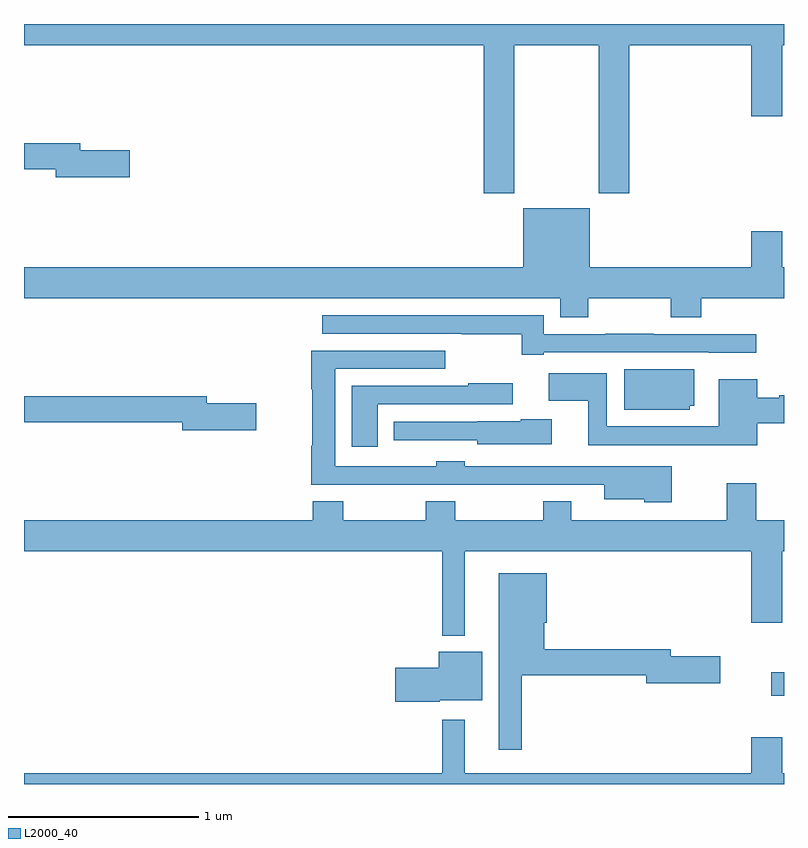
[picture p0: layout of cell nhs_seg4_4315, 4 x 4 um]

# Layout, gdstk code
import gdstk
lib = gdstk.Library(unit=1e-6, precision=1e-09)
def R(c, l, rs):  # rectangles x0, y0, x1, y1
    for r in rs: c.add(gdstk.rectangle(r[:2], r[2:], *l))
def P(c, l, *ps):  # polygons
    for p in ps: c.add(gdstk.Polygon(p, *l))
L2000_40 = (2000, 40)

nhs_seg4_4315 = lib.new_cell('nhs_seg4_4315')
R(nhs_seg4_4315, L2000_40, [(344.934,825.365,345,825.487)])
P(nhs_seg4_4315, L2000_40, [(343.581,828.788),(344.026,828.788),(344.026,828.009),(344.186,828.009),(344.186,828.788),(344.828,828.788),(344.828,828.414),(344.992,828.414),(344.992,828.788),(345,828.788),(345,828.9),(341,828.9),(341,828.788),(343.421,828.788),(343.421,828.009),(343.581,828.009)],
  [(341.557,828.236),(341.296,828.236),(341.296,828.272),(341,828.272),(341,828.136),(341.168,828.136),(341.168,828.094),(341.557,828.094)],
  [(343.971,827.456),(344.404,827.456),(344.404,827.357),(344.564,827.357),(344.564,827.456),(345,827.456),(345,827.62),(344.992,827.62),(344.992,827.809),(344.828,827.809),(344.828,827.62),(343.978,827.62),(343.978,827.929),(343.628,827.929),(343.628,827.62),(341,827.62),(341,827.456),(343.823,827.456),(343.823,827.357),(343.971,827.357)],
  [(343.735,827.172),(344.605,827.172),(344.605,827.171),(344.854,827.171),(344.854,827.268),(344.315,827.268),(344.315,827.27),(344.059,827.27),(344.059,827.268),(343.735,827.268),(343.735,827.367),(342.57,827.367),(342.57,827.271),(343.303,827.271),(343.303,827.266),(343.621,827.266),(343.621,827.16),(343.735,827.16)],
  [(344.409,826.573),(344.158,826.573),(344.158,826.572),(343.32,826.572),(343.32,826.6),(343.17,826.6),(343.17,826.573),(342.958,826.573),(342.958,826.572),(342.637,826.572),(342.637,827.085),(343.216,827.085),(343.216,827.181),(342.512,827.181),(342.512,826.978),(342.517,826.978),(342.517,826.679),(342.512,826.679),(342.512,826.475),(343.643,826.475),(343.643,826.476),(344.054,826.476),(344.054,826.4),(344.265,826.4),(344.265,826.382),(344.409,826.382)],
  [(344.505,826.89),(344.527,826.89),(344.527,827.083),(344.159,827.083),(344.159,826.871),(344.505,826.871)],
  [(344.86,826.799),(345,826.799),(345,826.946),(344.976,826.946),(344.976,826.933),(344.86,826.933),(344.86,827.029),(344.657,827.029),(344.657,826.783),(344.067,826.783),(344.067,827.062),(343.761,827.062),(343.761,826.916),(343.97,826.916),(343.97,826.682),(344.86,826.682)],
  [(342.862,826.899),(343.573,826.899),(343.573,827.008),(343.337,827.008),(343.337,826.995),(342.725,826.995),(342.725,826.674),(342.862,826.674)],
  [(342.223,826.904),(341.962,826.904),(341.962,826.94),(341,826.94),(341,826.804),(341.834,826.804),(341.834,826.762),(342.223,826.762)],
  [(343.777,826.821),(343.614,826.821),(343.614,826.81),(343.386,826.81),(343.386,826.806),(342.947,826.806),(342.947,826.71),(343.386,826.71),(343.386,826.688),(343.777,826.688)],
  [(343.321,826.124),(344.828,826.124),(344.828,825.75),(344.992,825.75),(344.992,826.124),(345,826.124),(345,826.288),(344.853,826.288),(344.853,826.483),(344.698,826.483),(344.698,826.288),(343.879,826.288),(343.879,826.387),(343.732,826.387),(343.732,826.288),(343.269,826.288),(343.269,826.387),(343.114,826.387),(343.114,826.288),(342.681,826.288),(342.681,826.387),(342.521,826.387),(342.521,826.288),(341,826.288),(341,826.124),(343.2,826.124),(343.2,825.68),(343.321,825.68)],
  [(343.621,825.472),(344.276,825.472),(344.276,825.43),(344.665,825.43),(344.665,825.572),(344.404,825.572),(344.404,825.608),(343.738,825.608),(343.738,825.75),(343.75,825.75),(343.75,826.009),(343.499,826.009),(343.499,825.081),(343.621,825.081)],
  [(343.188,825.341),(343.411,825.341),(343.411,825.595),(343.184,825.595),(343.184,825.512),(342.954,825.512),(342.954,825.334),(343.188,825.334)],
  [(345,824.956),(344.992,824.956),(344.992,825.145),(344.828,825.145),(344.828,824.956),(343.321,824.956),(343.321,825.238),(343.2,825.238),(343.2,824.956),(341,824.956),(341,824.9),(345,824.9)])

lib.write_gds('nhs_seg4_4315.gds')
